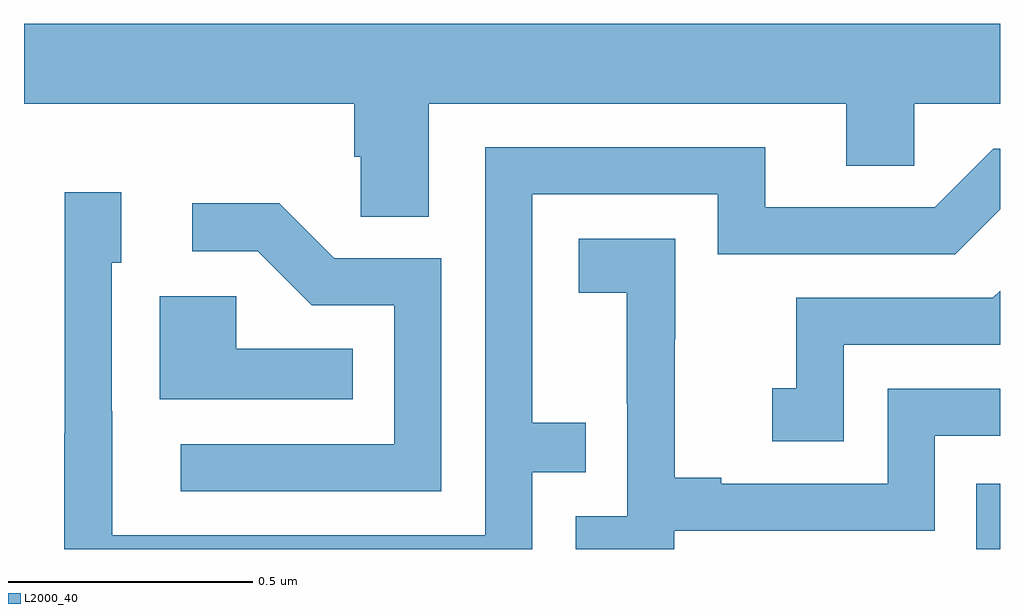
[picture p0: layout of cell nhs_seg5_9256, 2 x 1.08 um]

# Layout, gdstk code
import gdstk
lib = gdstk.Library(unit=1e-6, precision=1e-09)
def R(c, l, rs):  # rectangles x0, y0, x1, y1
    for r in rs: c.add(gdstk.rectangle(r[:2], r[2:], *l))
def P(c, l, *ps):  # polygons
    for p in ps: c.add(gdstk.Polygon(p, *l))
L2000_40 = (2000, 40)

nhs_seg5_9256 = lib.new_cell('nhs_seg5_9256')
R(nhs_seg5_9256, L2000_40, [(232.951,903.799,233,903.933)])
P(nhs_seg5_9256, L2000_40, [(231.829,904.712),(232.685,904.712),(232.685,904.585),(232.824,904.585),(232.824,904.712),(233,904.712),(233,904.876),(231,904.876),(231,904.712),(231.677,904.712),(231.677,904.603),(231.69,904.603),(231.69,904.48),(231.829,904.48)],
  [(232.041,903.957),(232.151,903.957),(232.151,904.058),(232.041,904.058),(232.041,904.527),(232.422,904.527),(232.422,904.404),(232.908,904.404),(233,904.496),(233,904.62),(232.986,904.62),(232.866,904.5),(232.519,904.5),(232.519,904.623),(231.945,904.623),(231.945,903.828),(231.181,903.828),(231.181,904.082),(231.18,904.082),(231.18,904.386),(231.199,904.386),(231.199,904.531),(231.084,904.531),(231.084,904.037),(231.082,904.037),(231.082,903.799),(232.041,903.799)],
  [(231.855,904.395),(231.636,904.395),(231.523,904.508),(231.345,904.508),(231.345,904.41),(231.479,904.41),(231.59,904.299),(231.759,904.299),(231.759,904.014),(231.321,904.014),(231.321,903.918),(231.855,903.918)],
  [(232.332,903.837),(232.866,903.837),(232.866,904.032),(233,904.032),(233,904.128),(232.77,904.128),(232.77,903.933),(232.429,903.933),(232.429,903.946),(232.334,903.946),(232.334,904.229),(232.335,904.229),(232.335,904.435),(232.137,904.435),(232.137,904.325),(232.235,904.325),(232.235,904.097),(232.236,904.097),(232.236,903.867),(232.131,903.867),(232.131,903.799),(232.332,903.799)],
  [(232.68,904.218),(233,904.218),(233,904.329),(232.985,904.314),(232.582,904.314),(232.582,904.129),(232.533,904.129),(232.533,904.02),(232.68,904.02)],
  [(231.674,904.21),(231.435,904.21),(231.435,904.318),(231.278,904.318),(231.278,904.106),(231.674,904.106)])

lib.write_gds('nhs_seg5_9256.gds')
